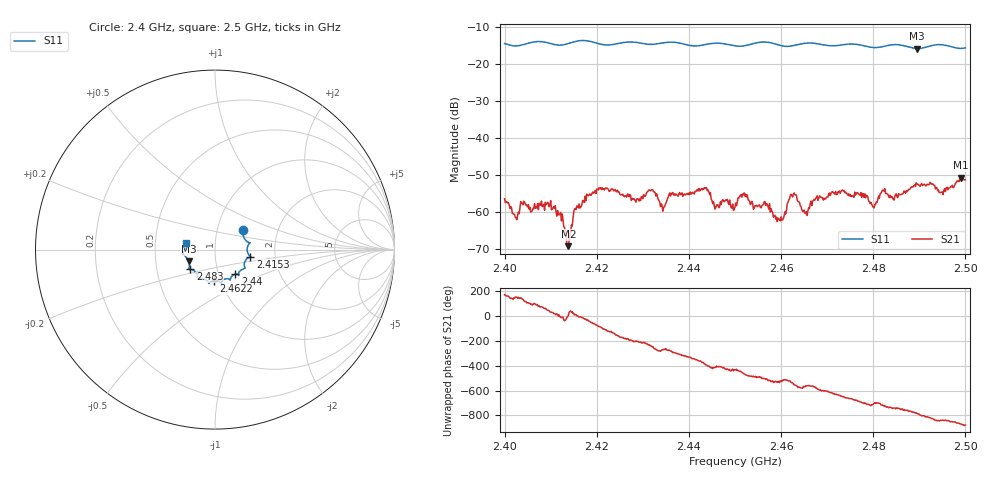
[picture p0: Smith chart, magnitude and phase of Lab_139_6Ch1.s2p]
# Hz S RI R 50
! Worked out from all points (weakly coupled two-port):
!   601 points, 2.4 GHz to 2.5 GHz, reference 50 ohm
!   highest |S21| = -50.85 dB at 2.499 GHz (marker M1); lowest = -69.4 dB at 2.4138 GHz (marker M2)
!   lowest |S11| = -15.9 dB at 2.4895 GHz (marker M3), VSWR 1.38, Z = 36.9 - j4.99 ohm
!   |S11| at or under -10 dB: start of sweep to end of sweep
!   S12 and S22 are empty: the file has one direction only
!   S11 on the Smith chart (normalised r, x): 2.4 GHz: 1.33, +0.29; 2.4153 GHz: 1.48, -0.12; 2.44 GHz: 1.20, -0.34; 2.4622 GHz: 0.93, -0.33; 2.483 GHz: 0.74, -0.17; 2.5 GHz: 0.72, +0.06
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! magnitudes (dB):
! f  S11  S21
! 2.4 GHz  -14.5  -56.5
! 2.4023 GHz  -15.2  -61.6
! 2.404 GHz  -14.8  -58.2
! 2.4095 GHz  -14.4  -57.7
! 2.4138 GHz  -14.5  -69.4
! 2.4153 GHz  -14.0  -59.1
! 2.4167 GHz  -13.7  -58.6
! 2.421 GHz  -14.7  -54.0
! 2.4333 GHz  -14.6  -56.7
! 2.44 GHz  -15.0  -55.0
! 2.45 GHz  -15.1  -58.7
! 2.4522 GHz  -15.1  -55.8
! 2.46 GHz  -15.1  -61.4
! 2.4622 GHz  -15.2  -55.3
! 2.4652 GHz  -14.4  -60.4
! 2.4667 GHz  -14.4  -58.4
! 2.483 GHz  -15.1  -55.2
! 2.4833 GHz  -15.0  -55.9
! 2.4895 GHz  -15.9  -52.5
! 2.4948 GHz  -14.8  -54.8
! 2.499 GHz  -15.8  -50.8
! 2.5 GHz  -15.7  -51.3
